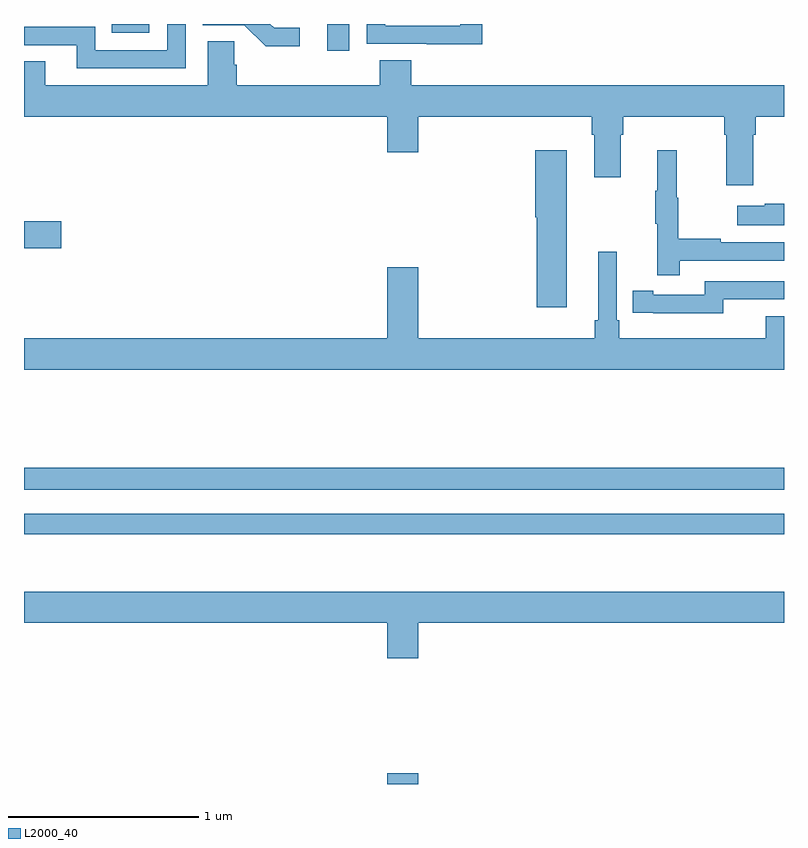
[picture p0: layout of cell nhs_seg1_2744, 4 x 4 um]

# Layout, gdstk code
import gdstk
lib = gdstk.Library(unit=1e-6, precision=1e-09)
def R(c, l, rs):  # rectangles x0, y0, x1, y1
    for r in rs: c.add(gdstk.rectangle(r[:2], r[2:], *l))
def P(c, l, *ps):  # polygons
    for p in ps: c.add(gdstk.Polygon(p, *l))
L2000_40 = (2000, 40)

nhs_seg1_2744 = lib.new_cell('nhs_seg1_2744')
R(nhs_seg1_2744, L2000_40, [(260.912,568.199,261.076,568.255), (259,569.514,263,569.622), (259,569.748,263,569.864), (259,571.018,259.195,571.16), (260.597,572.058,260.712,572.199), (259.462,572.153,259.66,572.199)])
P(nhs_seg1_2744, L2000_40, [(259.851,572.199),(259.755,572.199),(259.755,572.061),(259.374,572.061),(259.374,572.184),(259,572.184),(259,572.088),(259.277,572.088),(259.277,571.965),(259.851,571.965)],
  [(260.452,572.178),(260.317,572.178),(260.296,572.199),(259.941,572.199),(259.941,572.193),(260.16,572.193),(260.273,572.081),(260.452,572.081)],
  [(261.413,572.199),(261.297,572.199),(261.297,572.19),(260.901,572.19),(260.901,572.199),(260.805,572.199),(260.805,572.094),(261.121,572.094),(261.121,572.093),(261.413,572.093)],
  [(261.038,572.009),(260.873,572.009),(260.873,571.876),(260.12,571.876),(260.12,571.985),(260.106,571.985),(260.106,572.108),(259.967,572.108),(259.967,571.876),(259.111,571.876),(259.111,572.003),(259,572.003),(259,571.712),(260.912,571.712),(260.912,571.524),(261.076,571.524),(261.076,571.712),(261.989,571.712),(261.989,571.616),(262.001,571.616),(262.001,571.392),(262.141,571.392),(262.141,571.616),(262.154,571.616),(262.154,571.712),(262.685,571.712),(262.685,571.616),(262.697,571.616),(262.697,571.35),(262.837,571.35),(262.837,571.616),(262.85,571.616),(262.85,571.712),(263,571.712),(263,571.876),(261.038,571.876)],
  [(262.451,570.954),(263,570.954),(263,571.05),(262.667,571.05),(262.667,571.07),(262.444,571.07),(262.444,571.284),(262.436,571.284),(262.436,571.534),(262.334,571.534),(262.334,571.321),(262.323,571.321),(262.323,571.147),(262.334,571.147),(262.334,570.876),(262.451,570.876)],
  [(261.856,571.534),(261.692,571.534),(261.692,571.182),(261.698,571.182),(261.698,570.708),(261.856,570.708)],
  [(263,571.253),(262.898,571.253),(262.898,571.243),(262.755,571.243),(262.755,571.139),(263,571.139)],
  [(263,570.661),(262.904,570.661),(262.904,570.544),(262.133,570.544),(262.133,570.64),(262.119,570.64),(262.119,571),(262.022,571),(262.022,570.64),(262.003,570.64),(262.003,570.544),(261.076,570.544),(261.076,570.919),(260.912,570.919),(260.912,570.544),(259,570.544),(259,570.38),(263,570.38)],
  [(262.68,570.75),(263,570.75),(263,570.846),(262.584,570.846),(262.584,570.774),(262.312,570.774),(262.312,570.794),(262.204,570.794),(262.204,570.678),(262.312,570.678),(262.312,570.677),(262.68,570.677)],
  [(261.076,569.048),(263,569.048),(263,569.212),(259,569.212),(259,569.048),(260.912,569.048),(260.912,568.86),(261.076,568.86)])

lib.write_gds('nhs_seg1_2744.gds')
